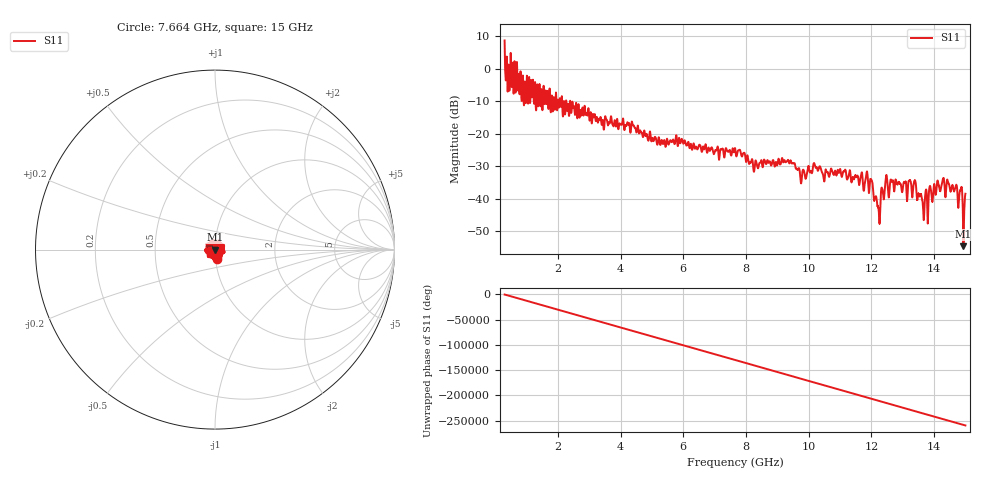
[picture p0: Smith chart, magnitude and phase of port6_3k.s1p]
# GHZ S RI R 50.0
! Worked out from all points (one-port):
!   12801 points, 300 MHz to 15 GHz, reference 50 ohm
!   lowest |S11| = -54.7 dB at 14.94 GHz (marker M1), VSWR 1.00, Z = 50.2 - j0.0913 ohm
!   |S11| at or under -10 dB: 2.195 GHz to 2.259 GHz (63.72 MHz wide, 2.86 % of centre); 2.268 GHz to 2.387 GHz (118.7 MHz wide, 5.1 % of centre); 2.394 GHz to end of sweep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
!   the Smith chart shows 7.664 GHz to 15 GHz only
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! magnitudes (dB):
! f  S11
! 300 MHz  8.8
! 398.8 MHz  -7.0
! 749 MHz  -1.8
! 907.5 MHz  -10.2
! 1.144 GHz  -3.4
! 1.308 GHz  -12.7
! 2.138 GHz  -10.9
! 3.975 GHz  -17.0
! 5.219 GHz  -21.1
! 5.812 GHz  -23.3
! 7.65 GHz  -24.4
! 8.306 GHz  -28.3
! 9.488 GHz  -29.0
! 9.792 GHz  -32.5
! 10.2 GHz  -30.0
! 10.46 GHz  -32.9
! 11.32 GHz  -31.7
! 11.92 GHz  -37.9
! 12.22 GHz  -42.8
! 12.47 GHz  -32.9
! 13.16 GHz  -37.5
! 13.39 GHz  -34.4
! 13.74 GHz  -37.5
! 14.06 GHz  -38.3
! 14.46 GHz  -35.3
! 14.85 GHz  -37.3
! 14.94 GHz  -54.7
! 15 GHz  -38.5
